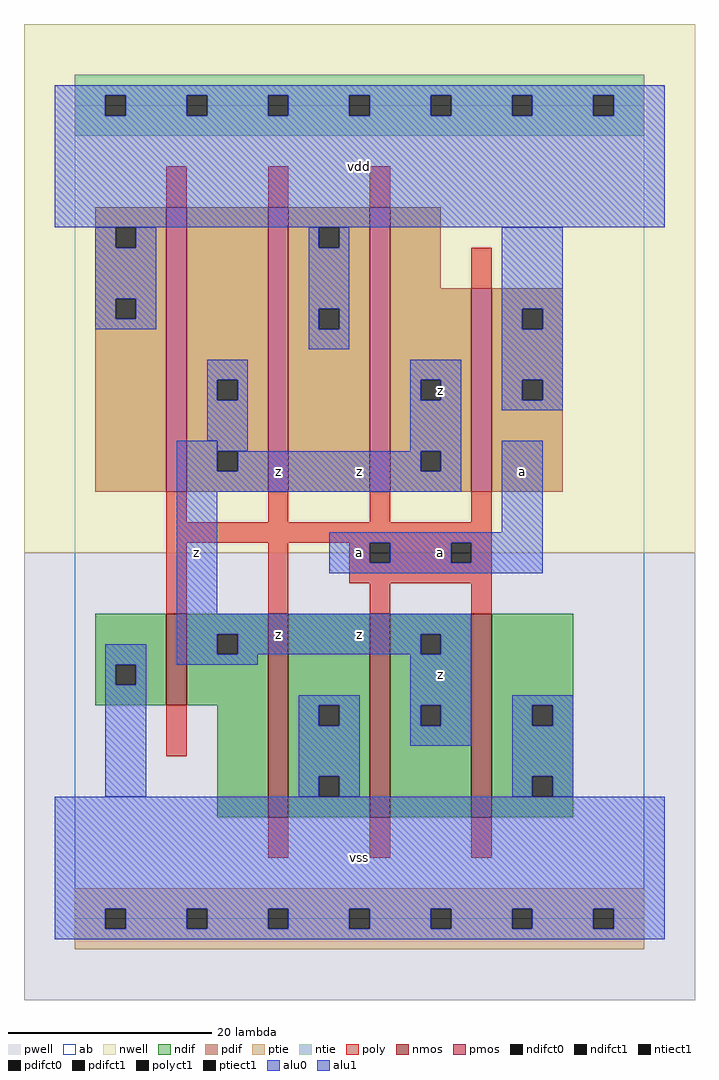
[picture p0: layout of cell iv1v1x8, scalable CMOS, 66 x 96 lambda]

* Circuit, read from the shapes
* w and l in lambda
.subckt iv1v1x8 a vdd vss z
M1 z a vss vss nfet w=9 l=2
M2 vss a z vss nfet w=20 l=2 m=3
M3 z a vdd vdd pfet w=28 l=2 m=3
M4 vdd a z vdd pfet w=20 l=2
.ends

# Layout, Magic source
magic
tech scmos
<< ab >>
rect 0 0 56 80
<< nwell >>
rect -5 36 61 88
<< pwell >>
rect -5 -8 61 36
<< poly >>
rect 9 70 11 74
rect 19 70 21 74
rect 29 70 31 74
rect 39 62 41 66
rect 9 39 11 42
rect 19 39 21 42
rect 29 39 31 42
rect 39 39 41 42
rect 9 37 41 39
rect 9 30 11 37
rect 19 30 21 37
rect 27 35 29 37
rect 31 35 37 37
rect 39 35 41 37
rect 27 33 41 35
rect 29 30 31 33
rect 39 30 41 33
rect 9 16 11 21
rect 19 6 21 10
rect 29 6 31 10
rect 39 6 41 10
<< ndif >>
rect 2 25 9 30
rect 2 23 4 25
rect 6 23 9 25
rect 2 21 9 23
rect 11 28 19 30
rect 11 26 14 28
rect 16 26 19 28
rect 11 21 19 26
rect 14 10 19 21
rect 21 21 29 30
rect 21 19 24 21
rect 26 19 29 21
rect 21 14 29 19
rect 21 12 24 14
rect 26 12 29 14
rect 21 10 29 12
rect 31 28 39 30
rect 31 26 34 28
rect 36 26 39 28
rect 31 21 39 26
rect 31 19 34 21
rect 36 19 39 21
rect 31 10 39 19
rect 41 21 49 30
rect 41 19 45 21
rect 47 19 49 21
rect 41 14 49 19
rect 41 12 45 14
rect 47 12 49 14
rect 41 10 49 12
<< pdif >>
rect 2 68 9 70
rect 2 66 4 68
rect 6 66 9 68
rect 2 61 9 66
rect 2 59 4 61
rect 6 59 9 61
rect 2 42 9 59
rect 11 53 19 70
rect 11 51 14 53
rect 16 51 19 53
rect 11 46 19 51
rect 11 44 14 46
rect 16 44 19 46
rect 11 42 19 44
rect 21 68 29 70
rect 21 66 24 68
rect 26 66 29 68
rect 21 60 29 66
rect 21 58 24 60
rect 26 58 29 60
rect 21 42 29 58
rect 31 62 36 70
rect 31 53 39 62
rect 31 51 34 53
rect 36 51 39 53
rect 31 46 39 51
rect 31 44 34 46
rect 36 44 39 46
rect 31 42 39 44
rect 41 60 48 62
rect 41 58 44 60
rect 46 58 48 60
rect 41 53 48 58
rect 41 51 44 53
rect 46 51 48 53
rect 41 42 48 51
<< alu1 >>
rect -2 81 58 82
rect -2 79 3 81
rect 5 79 11 81
rect 13 79 19 81
rect 21 79 27 81
rect 29 79 35 81
rect 37 79 43 81
rect 45 79 51 81
rect 53 79 58 81
rect -2 68 58 79
rect 10 44 14 47
rect 33 53 38 55
rect 33 51 34 53
rect 36 51 38 53
rect 33 46 38 51
rect 16 44 34 46
rect 36 44 38 46
rect 10 42 38 44
rect 10 30 14 42
rect 42 38 46 47
rect 25 37 46 38
rect 25 35 29 37
rect 31 35 37 37
rect 39 35 46 37
rect 25 34 46 35
rect 10 28 39 30
rect 10 26 14 28
rect 16 26 34 28
rect 36 26 39 28
rect 10 25 18 26
rect 33 21 39 26
rect 33 19 34 21
rect 36 19 39 21
rect 33 17 39 19
rect -2 1 58 12
rect -2 -1 3 1
rect 5 -1 11 1
rect 13 -1 19 1
rect 21 -1 27 1
rect 29 -1 35 1
rect 37 -1 43 1
rect 45 -1 51 1
rect 53 -1 58 1
rect -2 -2 58 -1
<< ptie >>
rect 0 1 56 3
rect 0 -1 3 1
rect 5 -1 11 1
rect 13 -1 19 1
rect 21 -1 27 1
rect 29 -1 35 1
rect 37 -1 43 1
rect 45 -1 51 1
rect 53 -1 56 1
rect 0 -3 56 -1
<< ntie >>
rect 0 81 56 83
rect 0 79 3 81
rect 5 79 11 81
rect 13 79 19 81
rect 21 79 27 81
rect 29 79 35 81
rect 37 79 43 81
rect 45 79 51 81
rect 53 79 56 81
rect 0 77 56 79
<< nmos >>
rect 9 21 11 30
rect 19 10 21 30
rect 29 10 31 30
rect 39 10 41 30
<< pmos >>
rect 9 42 11 70
rect 19 42 21 70
rect 29 42 31 70
rect 39 42 41 62
<< polyct1 >>
rect 29 35 31 37
rect 37 35 39 37
<< ndifct0 >>
rect 4 23 6 25
rect 24 19 26 21
rect 24 12 26 14
rect 45 19 47 21
rect 45 12 47 14
<< ndifct1 >>
rect 14 26 16 28
rect 34 26 36 28
rect 34 19 36 21
<< ntiect1 >>
rect 3 79 5 81
rect 11 79 13 81
rect 19 79 21 81
rect 27 79 29 81
rect 35 79 37 81
rect 43 79 45 81
rect 51 79 53 81
<< ptiect1 >>
rect 3 -1 5 1
rect 11 -1 13 1
rect 19 -1 21 1
rect 27 -1 29 1
rect 35 -1 37 1
rect 43 -1 45 1
rect 51 -1 53 1
<< pdifct0 >>
rect 4 66 6 68
rect 4 59 6 61
rect 14 51 16 53
rect 24 66 26 68
rect 24 58 26 60
rect 44 58 46 60
rect 44 51 46 53
<< pdifct1 >>
rect 14 44 16 46
rect 34 51 36 53
rect 34 44 36 46
<< alu0 >>
rect 2 66 4 68
rect 6 66 8 68
rect 2 61 8 66
rect 2 59 4 61
rect 6 59 8 61
rect 2 58 8 59
rect 23 66 24 68
rect 26 66 27 68
rect 23 60 27 66
rect 23 58 24 60
rect 26 58 27 60
rect 23 56 27 58
rect 42 60 48 68
rect 42 58 44 60
rect 46 58 48 60
rect 13 53 17 55
rect 13 51 14 53
rect 16 51 17 53
rect 13 47 17 51
rect 14 46 17 47
rect 42 53 48 58
rect 42 51 44 53
rect 46 51 48 53
rect 42 50 48 51
rect 3 25 7 27
rect 3 23 4 25
rect 6 23 7 25
rect 3 12 7 23
rect 22 21 28 22
rect 22 19 24 21
rect 26 19 28 21
rect 22 14 28 19
rect 43 21 49 22
rect 43 19 45 21
rect 47 19 49 21
rect 22 12 24 14
rect 26 12 28 14
rect 43 14 49 19
rect 43 12 45 14
rect 47 12 49 14
<< labels >>
rlabel alu1 12 36 12 36 6 z
rlabel alu1 20 28 20 28 6 z
rlabel alu1 20 44 20 44 6 z
rlabel alu1 28 6 28 6 6 vss
rlabel alu1 28 28 28 28 6 z
rlabel alu1 28 36 28 36 6 a
rlabel alu1 36 36 36 36 6 a
rlabel alu1 36 24 36 24 6 z
rlabel alu1 28 44 28 44 6 z
rlabel alu1 36 52 36 52 6 z
rlabel alu1 28 74 28 74 6 vdd
rlabel alu1 44 44 44 44 6 a
<< end >>
